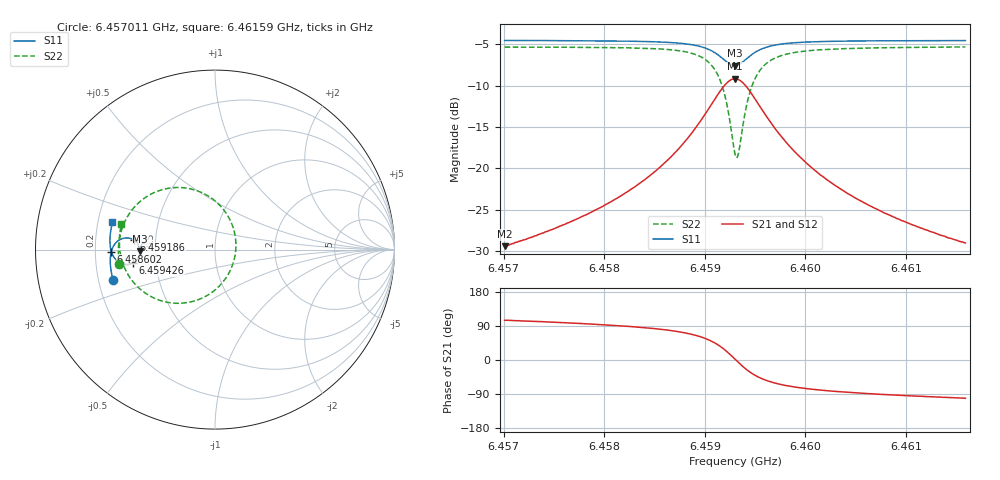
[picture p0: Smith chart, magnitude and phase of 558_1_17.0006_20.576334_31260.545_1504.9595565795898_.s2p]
#  HZ  S  RI  R  50.00
! Rohde & Schwarz Vector Network Analyzer
! Rohde-Schwarz,ZNB20-2Port,1311601062101988,3.16
! Created: UTC 3/20/2024, 11:17:05 PM
! freq[Hz]  re:S11  im:S11  re:S21  im:S21  re:S12  im:S12  re:S22  im:S22
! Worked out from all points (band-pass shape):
!   401 points, 6.457011 GHz to 6.46159 GHz, reference 50 ohm
!   highest |S21| = -9.18 dB at 6.4593 GHz (marker M1); lowest = -29.4 dB at 6.457011 GHz (marker M2)
!   |S21| within 3 dB of the highest: 6.459071 GHz to 6.459529 GHz (457.9 kHz wide, 0.00709 % of centre)
!   lowest |S11| = -7.6 dB at 6.4593 GHz (marker M3), VSWR 2.43, Z = 20.6 - j0.448 ohm
!   |S11| at or under -10 dB: nowhere
!   |S22| runs from -18.7 to -5.3 dB; largest |S21 - S12| = 0.014
!   S11 on the Smith chart (normalised r, x): 6.457011 GHz: 0.26, -0.14; 6.458602 GHz: 0.27, -0.01; 6.459186 GHz: 0.37, +0.05; 6.459426 GHz: 0.37, -0.07; 6.46159 GHz: 0.26, +0.12
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6.4570109e9  -0.5674 -0.1696  -0.00867 0.0327  -0.0071 0.0326  -0.5335 -0.0817
6.4577779e9  -0.5811 -0.1025  -0.00545 0.0507  -0.00287 0.0502  -0.5383 0.00842
6.4582014e9  -0.5839 -0.06  0.000603 0.0702  0.00401 0.0689  -0.5299 0.0759
6.4585448e9  -0.5798 -0.0186  0.0146 0.0993  0.0187 0.0965  -0.5039 0.1538
6.4586021e9  -0.5779 -0.0108  0.0189 0.1061  0.0232 0.1029  -0.4955 0.1703
6.4588081e9  -0.5648 0.0213  0.0469 0.1387  0.0509 0.1337  -0.4433 0.2432
6.458957e9  -0.542 0.0475  0.0924 0.1692  0.0957 0.1623  -0.359 0.3077
6.4590943e9  -0.4979 0.0649  0.1802 0.1854  0.1811 0.1782  -0.1985 0.346
6.4591859e9  -0.4532 0.0545  0.2705 0.1538  0.2708 0.1479  -0.031 0.2945
6.4592546e9  -0.424 0.0222  0.3312 0.0814  0.3334 0.0759  0.0849 0.1636
6.4593004e9  -0.4172 -0.00899  0.3474 0.0128  0.3512 0.00588  0.1167 0.0354
6.4593118e9  -0.4176 -0.017  0.3469 -0.00498  0.3512 -0.0127  0.1161 0.0016
6.4593347e9  -0.4212 -0.0328  0.3414 -0.0398  0.3454 -0.049  0.1046 -0.0647
6.4593805e9  -0.437 -0.059  0.3125 -0.1  0.3146 -0.1121  0.0459 -0.1785
6.4594263e9  -0.4593 -0.0754  0.27 -0.1411  0.2691 -0.1546  -0.0401 -0.2536
6.4595179e9  -0.5028 -0.0821  0.1844 -0.1719  0.1783 -0.1837  -0.2105 -0.2992
6.4596667e9  -0.5468 -0.0615  0.0963 -0.1578  0.0876 -0.164  -0.379 -0.2486
6.4598384e9  -0.5694 -0.0319  0.0491 -0.1277  0.0415 -0.1304  -0.4633 -0.171
6.4600674e9  -0.581 0.00173  0.022 -0.0977  0.0162 -0.0984  -0.5075 -0.0927
6.4604337e9  -0.5855 0.0452  0.00556 -0.0695  0.00151 -0.0689  -0.5295 -0.00891
6.4608344e9  -0.5835 0.0854  -0.00157 -0.0522  -0.00448 -0.0513  -0.5328 0.0551
6.4615899e9  -0.5713 0.1524  -0.00676 -0.0348  -0.00834 -0.0338  -0.5214 0.1448
